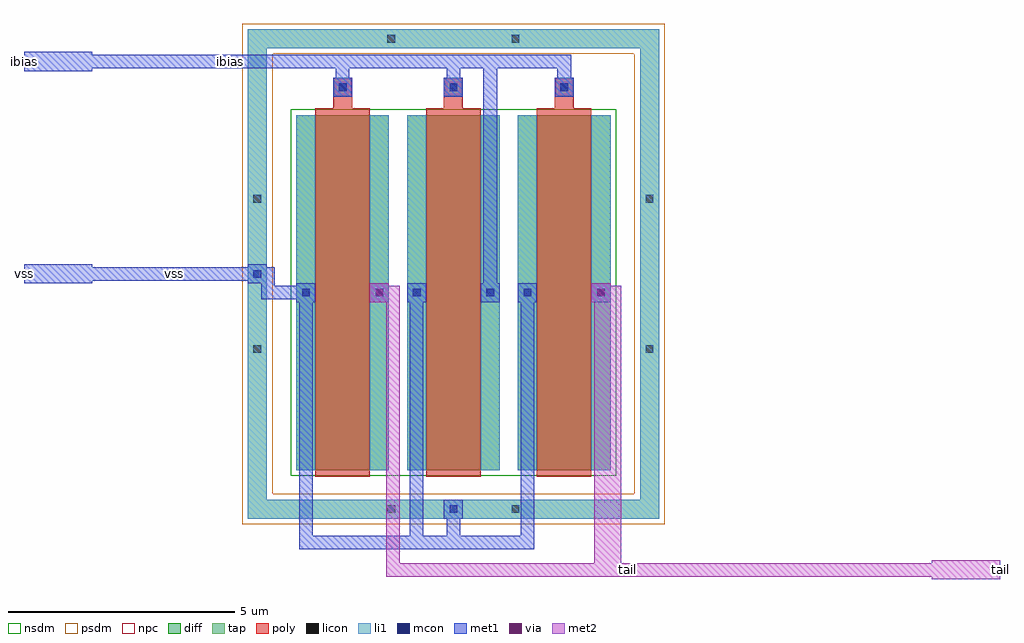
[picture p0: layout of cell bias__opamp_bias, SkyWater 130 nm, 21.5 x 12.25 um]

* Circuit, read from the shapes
.subckt bias__opamp_bias ibias tail vss
XM1 tail ibias vss vss sky130_fd_pr__nfet_01v8 w=7.82 l=1.2 m=2
XM2 ibias ibias vss vss sky130_fd_pr__nfet_01v8 w=7.82 l=1.2
.ends

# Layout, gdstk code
import gdstk
lib = gdstk.Library(unit=1e-6, precision=1e-09)
def R(c, l, rs):  # rectangles x0, y0, x1, y1
    for r in rs: c.add(gdstk.rectangle(r[:2], r[2:], *l))
def A(c, l, x, y, w, h, nx, ny, dx, dy):  # array of equal rectangles
    R(c, l, [(x+i*dx, y+j*dy, x+i*dx+w, y+j*dy+h) for i in range(nx) for j in range(ny)])
def P(c, l, *ps):  # polygons
    for p in ps: c.add(gdstk.Polygon(p, *l))
diff = (65, 20)
tap = (65, 44)
poly = (66, 20)
licon = (66, 44)
li1 = (67, 20)
mcon = (67, 44)
met1 = (68, 20)
via = (68, 44)
met2 = (69, 20)
nsdm = (93, 44)
psdm = (94, 20)
npc = (95, 20)

pin_tail__stub_metal3 = lib.new_cell('pin_tail__stub_metal3')
R(pin_tail__stub_metal3, met2, [(0,0,1.5,0.42)])

pin_vss__stub_metal2 = lib.new_cell('pin_vss__stub_metal2')
R(pin_vss__stub_metal2, met1, [(0,0,1.5,0.42)])

pin_ibias__stub_metal2 = lib.new_cell('pin_ibias__stub_metal2')
R(pin_ibias__stub_metal2, met1, [(0,0,1.5,0.42)])

fe_masks__bias_fe_masks = lib.new_cell('fe_masks__bias_fe_masks')
A(fe_masks__bias_fe_masks, poly, 0.42, -0.15, 1.2, 0.15, 3, 2, 2.44, 7.97)
R(fe_masks__bias_fe_masks, nsdm, [(-0.125,-0.125,7.045,7.945)])
R(fe_masks__bias_fe_masks, psdm, [(-1.195,-1.195,8.115,-0.525), (-1.195,-0.525,-0.525,9.165), (7.445,-0.525,8.115,9.165), (-1.195,9.165,8.115,9.835)])
A(fe_masks__bias_fe_masks, npc, 0.835, 8.245, 0.37, 0.37, 3, 1, 2.44, 0)

mos_array = lib.new_cell('mos_array')
A(mos_array, diff, 0, 0, 2.04, 7.82, 3, 1, 2.44, 0)
P(mos_array, tap, [(-1.07,-1.07),(-1.07,9.29),(-0.65,9.29),(-0.65,-0.65),(7.57,-0.65),(7.57,9.29),(-1.07,9.29),(-1.07,9.71),(7.99,9.71),(7.99,-1.07)])
A(mos_array, poly, 0.42, 0, 1.2, 7.82, 3, 1, 2.44, 0)
A(mos_array, poly, 0.81, 7.82, 0.42, 0.82, 3, 1, 2.44, 0)
A(mos_array, licon, 0.935, 8.345, 0.17, 0.17, 3, 1, 2.44, 0)
R(mos_array, licon, [(2.005,-0.945,2.175,-0.775), (4.745,-0.945,4.915,-0.775), (-0.945,2.58,-0.775,2.75), (7.695,2.58,7.865,2.75), (0.125,3.825,0.295,3.995), (1.745,3.825,1.915,3.995), (2.565,3.825,2.735,3.995), (4.185,3.825,4.355,3.995), (5.005,3.825,5.175,3.995), (6.625,3.825,6.795,3.995), (-0.945,5.89,-0.775,6.06), (7.695,5.89,7.865,6.06), (2.005,9.415,2.175,9.585), (4.745,9.415,4.915,9.585)])
A(mos_array, li1, 0.81, 8.22, 0.42, 0.42, 3, 1, 2.44, 0)
R(mos_array, li1, [(0,0,0.42,7.82), (1.62,0,2.04,7.82), (2.44,0,2.86,7.82), (4.06,0,4.48,7.82), (4.88,0,5.3,7.82), (6.5,0,6.92,7.82)])
P(mos_array, li1, [(-1.07,-1.07),(-1.07,9.29),(-0.65,9.29),(-0.65,-0.65),(7.57,-0.65),(7.57,9.29),(-1.07,9.29),(-1.07,9.71),(7.99,9.71),(7.99,-1.07)])

mb__bias_tail_units = lib.new_cell('mb__bias_tail_units')
mb__bias_tail_units.add(gdstk.Reference(mos_array, (0,0)))

bias__opamp_bias = lib.new_cell('bias__opamp_bias')
R(bias__opamp_bias, li1, [(3.25,-1.07,3.67,-0.65), (3.25,-1.07,3.67,-0.65), (3.25,-1.07,3.67,-0.65), (0,3.7,0.42,4.12), (0,3.7,0.42,4.12), (1.62,3.7,2.04,4.12), (2.44,3.7,2.86,4.12), (4.06,3.7,4.48,4.12), (4.88,3.7,5.3,4.12), (6.5,3.7,6.92,4.12), (6.5,3.7,6.92,4.12), (-1.07,4.11,-0.65,4.53), (-1.07,4.11,-0.65,4.53), (0.81,8.22,1.23,8.64), (0.81,8.22,1.23,8.64), (3.25,8.22,3.67,8.64), (3.25,8.22,3.67,8.64), (3.25,8.22,3.67,8.64), (5.69,8.22,6.11,8.64)])
R(bias__opamp_bias, mcon, [(3.375,-0.945,3.545,-0.775), (3.375,-0.945,3.545,-0.775), (3.375,-0.945,3.545,-0.775), (0.125,3.825,0.295,3.995), (0.125,3.825,0.295,3.995), (1.745,3.825,1.915,3.995), (2.565,3.825,2.735,3.995), (4.185,3.825,4.355,3.995), (5.005,3.825,5.175,3.995), (6.625,3.825,6.795,3.995), (6.625,3.825,6.795,3.995), (-0.945,4.235,-0.775,4.405), (-0.945,4.235,-0.775,4.405), (0.935,8.345,1.105,8.515), (0.935,8.345,1.105,8.515), (3.375,8.345,3.545,8.515), (3.375,8.345,3.545,8.515), (3.375,8.345,3.545,8.515), (5.815,8.345,5.985,8.515)])
R(bias__opamp_bias, met1, [(3.25,-1.07,3.67,-0.65), (3.25,-1.07,3.67,-0.65), (3.25,-1.07,3.67,-0.65), (0,3.7,0.42,4.12), (0,3.7,0.42,4.12), (1.62,3.7,2.04,4.12), (1.62,3.7,2.04,4.12), (2.44,3.7,2.86,4.12), (4.06,3.7,4.48,4.12), (4.88,3.7,5.3,4.12), (6.5,3.7,6.92,4.12), (6.5,3.7,6.92,4.12), (6.5,3.7,6.92,4.12), (6.5,3.7,6.92,4.12), (-1.07,4.11,-0.65,4.53), (-1.07,4.11,-0.65,4.53), (0.81,8.22,1.23,8.64), (0.81,8.22,1.23,8.64), (3.25,8.22,3.67,8.64), (3.25,8.22,3.67,8.64), (3.25,8.22,3.67,8.64), (5.69,8.22,6.11,8.64)])
R(bias__opamp_bias, via, [(1.755,3.835,1.905,3.985), (6.635,3.835,6.785,3.985), (6.635,3.835,6.785,3.985)])
R(bias__opamp_bias, met2, [(1.62,3.7,2.04,4.12), (6.5,3.7,6.92,4.12), (6.5,3.7,6.92,4.12)])
bias__opamp_bias.add(gdstk.FlexPath([(14,-2.2),(7.01,-2.2),(7.01,3.91),(6.71,3.91)], 0.3, ends="flush", simple_path=True, layer=69, datatype=20))  # met2
bias__opamp_bias.add(gdstk.FlexPath([(6.71,3.91),(6.71,-2.2),(2.13,-2.2),(2.13,3.91),(1.83,3.91)], 0.3, ends="flush", simple_path=True, layer=69, datatype=20))  # met2
bias__opamp_bias.add(gdstk.FlexPath([(-4.5,9),(1.02,9),(1.02,8.43)], 0.3, ends="flush", simple_path=True, layer=68, datatype=20))  # met1
bias__opamp_bias.add(gdstk.FlexPath([(1.02,8.43),(1.02,9),(3.46,9),(3.46,8.43)], 0.3, ends="flush", simple_path=True, layer=68, datatype=20))  # met1
bias__opamp_bias.add(gdstk.FlexPath([(3.46,8.43),(3.46,9),(5.9,9),(5.9,8.43)], 0.3, ends="flush", simple_path=True, layer=68, datatype=20))  # met1
bias__opamp_bias.add(gdstk.FlexPath([(4.27,3.91),(4.27,9),(3.46,9),(3.46,8.43)], 0.3, ends="flush", simple_path=True, layer=68, datatype=20))  # met1
bias__opamp_bias.add(gdstk.FlexPath([(-4.5,4.32),(-0.86,4.32)], 0.3, ends="flush", simple_path=True, layer=68, datatype=20))  # met1
bias__opamp_bias.add(gdstk.FlexPath([(0.21,3.91),(0.21,-1.6),(3.46,-1.6),(3.46,-0.86)], 0.3, ends="flush", simple_path=True, layer=68, datatype=20))  # met1
bias__opamp_bias.add(gdstk.FlexPath([(2.65,3.91),(2.65,-1.6),(3.46,-1.6),(3.46,-0.86)], 0.3, ends="flush", simple_path=True, layer=68, datatype=20))  # met1
bias__opamp_bias.add(gdstk.FlexPath([(5.09,3.91),(5.09,-1.6),(3.46,-1.6),(3.46,-0.86)], 0.3, ends="flush", simple_path=True, layer=68, datatype=20))  # met1
bias__opamp_bias.add(gdstk.FlexPath([(0.21,3.91),(-0.625,3.91),(-0.625,4.32),(-0.86,4.32)], 0.3, ends="flush", simple_path=True, layer=68, datatype=20))  # met1
bias__opamp_bias.add(gdstk.Reference(pin_tail__stub_metal3, (14,-2.41)))
bias__opamp_bias.add(gdstk.Reference(pin_vss__stub_metal2, (-6,4.11)))
bias__opamp_bias.add(gdstk.Reference(pin_ibias__stub_metal2, (-6,8.79)))
bias__opamp_bias.add(gdstk.Reference(fe_masks__bias_fe_masks, (0,0)))
bias__opamp_bias.add(gdstk.Reference(mb__bias_tail_units, (0,0)))
bias__opamp_bias.add(gdstk.Label('ibias', (-1.455,9), layer=68, texttype=5))
bias__opamp_bias.add(gdstk.Label('vss', (-2.68,4.32), layer=68, texttype=5))
bias__opamp_bias.add(gdstk.Label('ibias', (-6,9), layer=68, texttype=5))
bias__opamp_bias.add(gdstk.Label('vss', (-6,4.32), layer=68, texttype=5))
bias__opamp_bias.add(gdstk.Label('tail', (7.3,-2.2), layer=69, texttype=5))
bias__opamp_bias.add(gdstk.Label('tail', (15.5,-2.2), layer=69, texttype=5))

lib.write_gds('bias__opamp_bias.gds')
